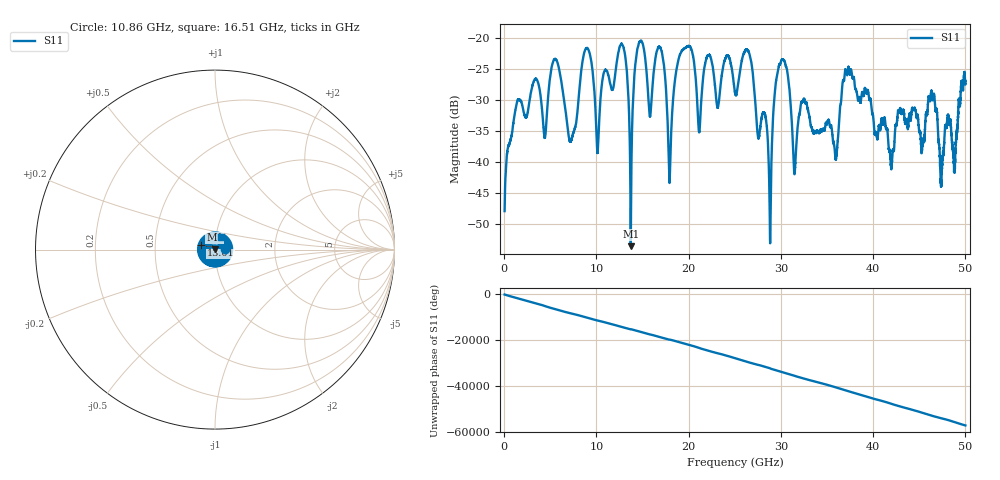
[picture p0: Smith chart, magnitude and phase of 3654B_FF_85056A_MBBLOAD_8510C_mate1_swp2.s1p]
!Created with skrf (http://scikit-rf.org).
# Hz S RI R 50.0
!freq ReS11 ImS11
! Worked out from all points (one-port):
!   10001 points, 45 MHz to 50 GHz, reference 50 ohm
!   lowest |S11| = -53.6 dB at 13.72 GHz (marker M1), VSWR 1.00, Z = 49.8 + j0.0933 ohm
!   |S11| at or under -10 dB: start of sweep to end of sweep
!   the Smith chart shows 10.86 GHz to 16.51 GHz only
!   S11 on the Smith chart (normalised r, x): 10.86 GHz: 1.11, +0.01; 13.01 GHz: 0.86, +0.04; 16.51 GHz: 1.06, +0.15
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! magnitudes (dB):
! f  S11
! 45 MHz  -47.9
! 1.499 GHz  -29.9
! 6.289 GHz  -28.0
! 7.293 GHz  -36.4
! 9.057 GHz  -21.7
! 10.14 GHz  -38.5
! 10.86 GHz  -25.4
! 12.53 GHz  -21.3
! 13.01 GHz  -22.0
! 13.72 GHz  -53.6
! 14.56 GHz  -21.1
! 15.81 GHz  -32.6
! 16.51 GHz  -22.3
! 17.93 GHz  -43.1
! 18.78 GHz  -24.2
! 21.14 GHz  -35.2
! 25.02 GHz  -28.9
! 26.52 GHz  -22.3
! 28.81 GHz  -51.7
! 30.26 GHz  -23.5
! 31.27 GHz  -36.1
! 35.94 GHz  -39.7
! 37.51 GHz  -25.7
! 41.92 GHz  -40.6
! 43.76 GHz  -34.7
! 46.46 GHz  -30.0
! 47.43 GHz  -41.6
! 50 GHz  -27.4
